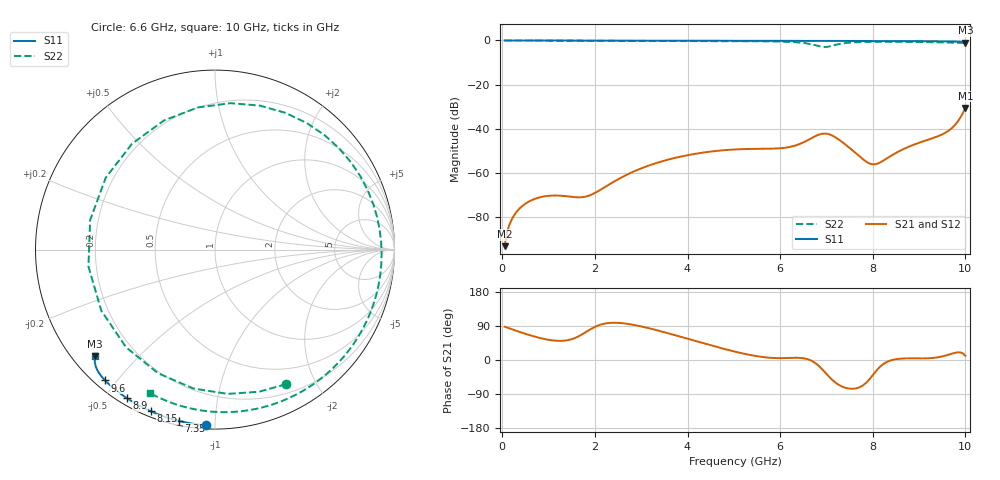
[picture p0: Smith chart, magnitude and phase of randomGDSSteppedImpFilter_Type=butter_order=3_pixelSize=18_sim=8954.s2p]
! freq	dB(S11)	phase(S11)	dB(S12)	phase(S12)
!  dB(S21)	phase(S21)	dB(S22)	phase(S22)
!S-par simulation data
#  GHz  S  DB  R 50
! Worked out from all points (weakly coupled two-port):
!   200 points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, 50 MHz to 10 GHz, reference 50 ohm
!   highest |S21| = -30.58 dB at 10 GHz (marker M1); lowest = -93.0 dB at 50 MHz (marker M2)
!   lowest |S11| = -1.0 dB at 10 GHz (marker M3), VSWR 17.90, Z = 3.2 - j19 ohm
!   |S11| at or under -10 dB: nowhere
!   |S22| runs from -3.0 to 0.0 dB; largest |S21 - S12| = 0
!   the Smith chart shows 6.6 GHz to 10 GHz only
!   S11 on the Smith chart (normalised r, x): 6.6 GHz: 0.02, -0.95; 7.35 GHz: 0.02, -0.81; 8.15 GHz: 0.02, -0.68; 8.9 GHz: 0.03, -0.57; 9.6 GHz: 0.03, -0.47; 10 GHz: 0.06, -0.38
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0.05  -0.00 -0.8  -93.01 87.9  -93.01 87.9  -0.00 -3.7
0.9  -0.02 -13.7  -70.51 55.6  -70.51 55.6  -0.08 -63.2
1.75  -0.03 -26.4  -70.79 69.6  -70.79 69.6  -0.13 -115.7
2.6  -0.05 -38.9  -61.64 97.1  -61.64 97.1  -0.16 -161.4
3.4  -0.07 -50.4  -54.95 76.6  -54.95 76.6  -0.19 158.8
4.3  -0.09 -62.8  -50.80 45.7  -50.80 45.7  -0.24 113.8
5.05  -0.11 -72.9  -49.25 21.3  -49.25 21.3  -0.30 73.6
5.55  -0.13 -79.4  -48.99 9.1  -48.99 9.1  -0.37 43.5
6.05  -0.15 -85.9  -48.65 4.9  -48.65 4.9  -0.55 7.0
6.35  -0.16 -89.6  -47.36 5.9  -47.36 5.9  -0.83 -23.3
6.6  -0.18 -92.8  -45.05 1.9  -45.05 1.9  -1.43 -62.1
6.7  -0.18 -94.0  -43.92 -3.5  -43.92 -3.5  -1.86 -85.0
6.85  -0.19 -95.9  -42.49 -17.4  -42.49 -17.4  -2.66 -132.3
7  -0.20 -97.7  -42.14 -36.8  -42.14 -36.8  -2.92 166.7
7.15  -0.21 -99.6  -43.27 -55.2  -43.27 -55.2  -2.23 111.5
7.35  -0.22 -102.0  -46.09 -70.7  -46.09 -70.7  -1.34 62.8
7.65  -0.24 -105.7  -51.24 -74.5  -51.24 -74.5  -0.79 21.3
8.15  -0.27 -111.7  -55.25 -18.6  -55.25 -18.6  -0.59 -19.1
8.35  -0.29 -114.1  -52.73 -2.7  -52.73 -2.7  -0.59 -31.4
8.9  -0.34 -120.8  -47.02 4.3  -47.02 4.3  -0.67 -60.9
9.6  -0.43 -130.0  -41.31 12.6  -41.31 12.6  -0.92 -94.9
10  -0.97 -138.3  -30.58 11.0  -30.58 11.0  -1.13 -114.5
